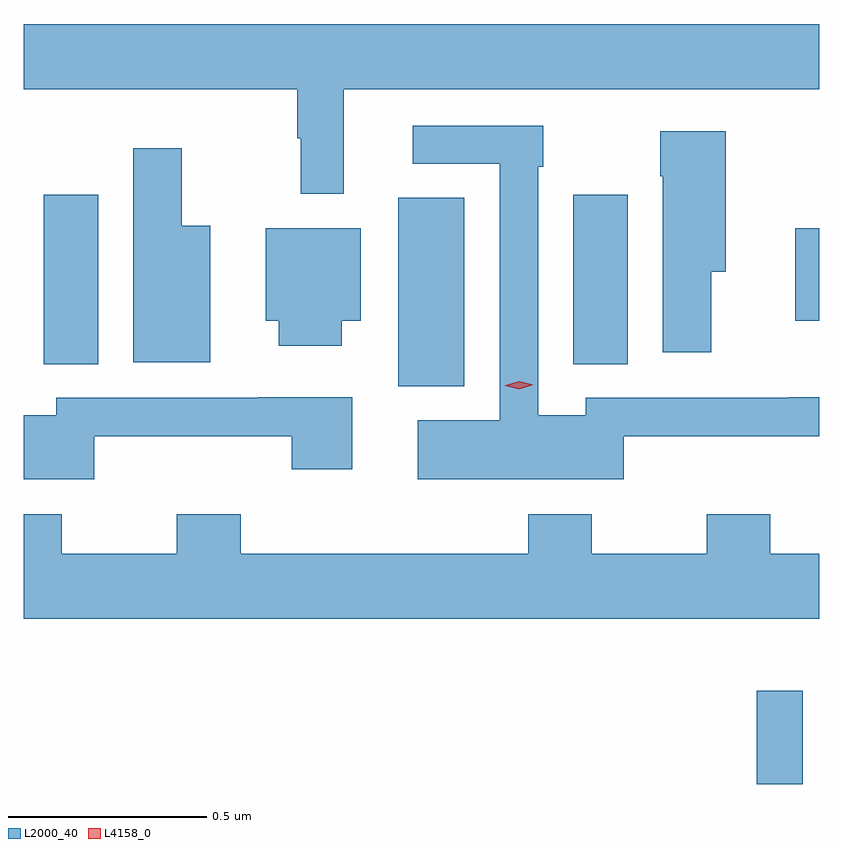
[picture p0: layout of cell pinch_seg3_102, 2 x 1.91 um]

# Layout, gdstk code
import gdstk
lib = gdstk.Library(unit=1e-6, precision=1e-09)
def R(c, l, rs):  # rectangles x0, y0, x1, y1
    for r in rs: c.add(gdstk.rectangle(r[:2], r[2:], *l))
def P(c, l, *ps):  # polygons
    for p in ps: c.add(gdstk.Polygon(p, *l))
L2000_40 = (2000, 40)
L4158_0 = (4158, 0)

pinch_seg3_102 = lib.new_cell('pinch_seg3_102')
R(pinch_seg3_102, L2000_40, [(1070.692,720.481,1070.808,720.715), (1069.79,721.481,1069.957,721.955), (1068.899,721.537,1069.036,721.963), (1070.231,721.537,1070.368,721.963), (1070.789,721.646,1070.849,721.879)])
P(pinch_seg3_102, L2000_40, [(1069.654,722.228),(1070.849,722.228),(1070.849,722.392),(1068.849,722.392),(1068.849,722.228),(1069.537,722.228),(1069.537,722.105),(1069.545,722.105),(1069.545,721.965),(1069.654,721.965)],
  [(1070.358,721.355),(1070.849,721.355),(1070.849,721.453),(1070.771,721.453),(1070.771,721.452),(1070.262,721.452),(1070.262,721.408),(1070.142,721.408),(1070.142,722.033),(1070.155,722.033),(1070.155,722.136),(1069.827,722.136),(1069.827,722.04),(1070.046,722.04),(1070.046,721.396),(1069.839,721.396),(1069.839,721.247),(1070.358,721.247)],
  [(1070.578,721.769),(1070.614,721.769),(1070.614,722.122),(1070.449,722.122),(1070.449,722.009),(1070.456,722.009),(1070.456,721.566),(1070.578,721.566)],
  [(1069.318,721.885),(1069.246,721.885),(1069.246,722.08),(1069.124,722.08),(1069.124,721.541),(1069.318,721.541)],
  [(1069.648,721.646),(1069.696,721.646),(1069.696,721.879),(1069.457,721.879),(1069.457,721.646),(1069.49,721.646),(1069.49,721.583),(1069.648,721.583)],
  [(1069.026,721.355),(1069.523,721.355),(1069.523,721.272),(1069.675,721.272),(1069.675,721.453),(1069.439,721.453),(1069.439,721.452),(1068.93,721.452),(1068.93,721.408),(1068.849,721.408),(1068.849,721.247),(1069.026,721.247)],
  [(1070.849,721.06),(1070.726,721.06),(1070.726,721.159),(1070.566,721.159),(1070.566,721.06),(1070.277,721.06),(1070.277,721.159),(1070.117,721.159),(1070.117,721.06),(1069.394,721.06),(1069.394,721.159),(1069.234,721.159),(1069.234,721.06),(1068.945,721.06),(1068.945,721.159),(1068.849,721.159),(1068.849,720.896),(1070.849,720.896)])
P(pinch_seg3_102, L4158_0, [(1070.095,721.474),(1070.06,721.483),(1070.06,721.484),(1070.06,721.484),(1070.095,721.494),(1070.13,721.485),(1070.13,721.485),(1070.13,721.485)])

lib.write_gds('pinch_seg3_102.gds')
